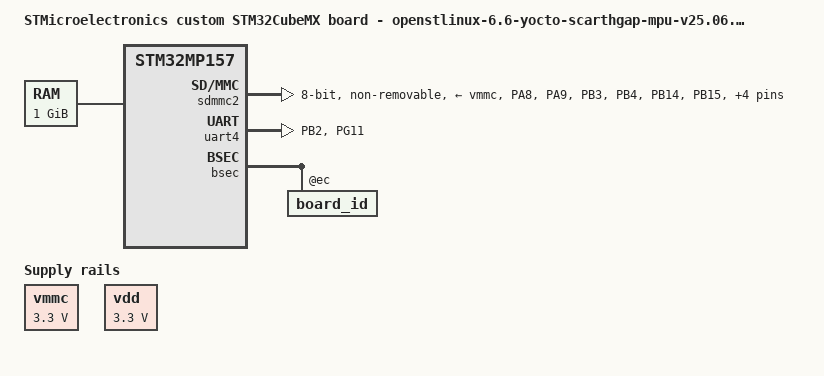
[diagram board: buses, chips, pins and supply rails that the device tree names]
// SPDX-License-Identifier: (GPL-2.0-or-later OR BSD-3-Clause)
/*
 * Copyright (C) 2025, STMicroelectronics - All Rights Reserved
 * Author: STM32CubeMX code generation for STMicroelectronics.
 */

/* For more information on Device Tree configuration, please refer to
 * https://wiki.st.com/stm32mpu/wiki/Category:Device_tree_configuration
 */

/dts-v1/;

#include <dt-bindings/pinctrl/stm32-pinfunc.h>
#include <dt-bindings/clock/stm32mp1-clksrc.h>
#include "stm32mp15-mx.dtsi"

#include "stm32mp157.dtsi"
#include "stm32mp15xd.dtsi"
#include "stm32mp15xxaa-pinctrl.dtsi"
#include "stm32mp15-ddr.dtsi"

/* USER CODE BEGIN includes */
/* USER CODE END includes */

/ {
	model = "STMicroelectronics custom STM32CubeMX board - openstlinux-6.6-yocto-scarthgap-mpu-v25.06.11";
	compatible = "st,stm32mp157d-stm32mp157daa1-mx", "st,stm32mp157";

	memory@c0000000 {
		device_type = "memory";
		reg = <0xc0000000 0x40000000>;

		/* USER CODE BEGIN memory */
		/* USER CODE END memory */
	};

	/* USER CODE BEGIN root */
  	aliases {
       		serial0 = &uart4;
    	};

	chosen {
		stdout-path = "serial0:115200n8";
	};

   	vmmc: fixedregulator@1 {
        	compatible = "regulator-fixed";
        	regulator-name = "vmmc";
        	regulator-min-microvolt = <3300000>;
        	regulator-max-microvolt = <3300000>;
        	startup-delay-us = <70000>;
       		enable-active-high;  
    	};

	vdd: regulator-vdd {
		compatible = "regulator-fixed";
		regulator-name = "vdd";
		regulator-min-microvolt = <3300000>;
		regulator-max-microvolt = <3300000>;
		regulator-off-in-suspend;
		regulator-always-on;
	};
	/* USER CODE END root */

	clocks {
		/* USER CODE BEGIN clocks */
		/* USER CODE END clocks */

		clk_hsi: clk-hsi {
			clock-frequency = <64000000>;

			/* USER CODE BEGIN clk_hsi */
			/* USER CODE END clk_hsi */
		};
		clk_lse: clk-lse {
			clock-frequency = <32768>;
			st,drive = < LSEDRV_MEDIUM_HIGH >;

			/* USER CODE BEGIN clk_lse */
			/* USER CODE END clk_lse */
		};
		clk_hse: clk-hse {
			clock-frequency = <24000000>;
			st,digbypass;

			/* USER CODE BEGIN clk_hse */
			/* USER CODE END clk_hse */
		};
	};

}; /*root*/

&pinctrl {
	sdmmc2_pins_mx: sdmmc2_mx-0 {
		pins1 {
			pinmux = <STM32_PINMUX('A', 8, AF9)>, /* SDMMC2_D4 */
					 <STM32_PINMUX('A', 9, AF10)>, /* SDMMC2_D5 */
					 <STM32_PINMUX('B', 3, AF9)>, /* SDMMC2_D2 */
					 <STM32_PINMUX('B', 4, AF9)>, /* SDMMC2_D3 */
					 <STM32_PINMUX('B', 14, AF9)>, /* SDMMC2_D0 */
					 <STM32_PINMUX('B', 15, AF9)>, /* SDMMC2_D1 */
					 <STM32_PINMUX('D', 3, AF9)>, /* SDMMC2_D7 */
					 <STM32_PINMUX('E', 5, AF9)>, /* SDMMC2_D6 */
					 <STM32_PINMUX('G', 6, AF10)>; /* SDMMC2_CMD */
			bias-pull-up;
			drive-push-pull;
			slew-rate = <1>;
		};
		pins2 {
			pinmux = <STM32_PINMUX('E', 3, AF9)>; /* SDMMC2_CK */
			bias-pull-up;
			drive-push-pull;
			slew-rate = <3>;
		};
	};

	uart4_pins_mx: uart4_mx-0 {
		pins1 {
			pinmux = <STM32_PINMUX('B', 2, AF8)>; /* UART4_RX */
			bias-disable;
		};
		pins2 {
			pinmux = <STM32_PINMUX('G', 11, AF6)>; /* UART4_TX */
			bias-disable;
			drive-push-pull;
			slew-rate = <0>;
		};
	};

	/* USER CODE BEGIN pinctrl */
	/* USER CODE END pinctrl */
};

&pinctrl_z {
	/* USER CODE BEGIN pinctrl_z */
	/* USER CODE END pinctrl_z */
};

&rcc {
	status = "okay";
	/* USER CODE BEGIN rcc */
	compatible = "st,stm32mp1-rcc-secure", "st,stm32mp1-rcc", "syscon";
	/* USER CODE END rcc */
	st,clksrc = <
		CLK_CKPER_DISABLED
		CLK_SDMMC12_PLL3R
		CLK_STGEN_HSI
		CLK_USBPHY_HSE
		CLK_UART24_HSI
		CLK_MPU_PLL1P
		CLK_AXI_PLL2P
		CLK_MCU_PLL3P
	>;
	st,clkdiv = <
		DIV(DIV_MPU, 1)
		DIV(DIV_AXI, 0)
		DIV(DIV_MCU, 0)
		DIV(DIV_APB1, 1)
		DIV(DIV_APB2, 1)
		DIV(DIV_APB3, 1)
		DIV(DIV_APB4, 1)
		DIV(DIV_APB5, 2)
		DIV(DIV_RTC, 0)
		DIV(DIV_MCO1, 0)
		DIV(DIV_MCO2, 0)
	>;
	st,pll_vco {
		pll1_vco_1600Mhz: pll1-vco-1600Mhz {
			src = < CLK_PLL12_HSE >;
			divmn = < 2 99 >;
		};
		pll2_vco_1066Mhz: pll2-vco-1066Mhz {
			src = < CLK_PLL12_HSE >;
			divmn = < 2 65 >;
			frac = < 0x1400 >;
		};
		pll3_vco_600Mhz: pll3-vco-600Mhz {
			src = < CLK_PLL3_HSE >;
			divmn = < 3 99 >;
		};
		/* USER CODE BEGIN rcc_st-pll_vco */
		/* USER CODE END rcc_st-pll_vco */
	};

	pll1:st,pll@0 {
		compatible = "st,stm32mp1-pll";
		reg = <0>;

		st,pll = < &pll1_cfg1 >;

		pll1_cfg1: pll1_cfg1 {
			st,pll_vco = < &pll1_vco_1600Mhz >;
			st,pll_div_pqr = < 0 1 1 >;
		};
		/* USER CODE BEGIN pll1 */
		/* USER CODE END pll1 */
	};

	pll2:st,pll@1 {
		compatible = "st,stm32mp1-pll";
		reg = <1>;

		st,pll = < &pll2_cfg1 >;

		pll2_cfg1: pll2_cfg1 {
			st,pll_vco = < &pll2_vco_1066Mhz >;
			st,pll_div_pqr = < 1 1 0 >;
		};
		/* USER CODE BEGIN pll2 */
		/* USER CODE END pll2 */
	};

	pll3:st,pll@2 {
		compatible = "st,stm32mp1-pll";
		reg = <2>;

		st,pll = < &pll3_cfg1 >;

		pll3_cfg1: pll3_cfg1 {
			st,pll_vco = < &pll3_vco_600Mhz >;
			st,pll_div_pqr = < 2 1 2 >;
		};
		/* USER CODE BEGIN pll3 */
		/* USER CODE END pll3 */
	};

};

&sdmmc2 {
	pinctrl-names = "default";
	pinctrl-0 = <&sdmmc2_pins_mx>;
	status = "okay";

	/* USER CODE BEGIN sdmmc2 */
	non-removable;
	no-sd;
	no-sdio;
	st,dirpol;
	st,negedge; 
	bus-width = <8>;
	vmmc-supply = <&vmmc>;
	vqmmc-supply = <&vmmc>;
	/* USER CODE END sdmmc2 */
};

&uart4 {
	pinctrl-names = "default";
	pinctrl-0 = <&uart4_pins_mx>;
	status = "okay";

	/* USER CODE BEGIN uart4 */
	/delete-property/dmas;
	/delete-property/dma-names;
	/* USER CODE END uart4 */
};

/* USER CODE BEGIN addons */
&bsec {
	board_id: board_id@ec {
		reg = <0xec 0x4>;
		st,non-secure-otp;
	};
};

&pwr_regulators{
	vdd-supply = <&vdd>;
};
/* USER CODE END addons */

